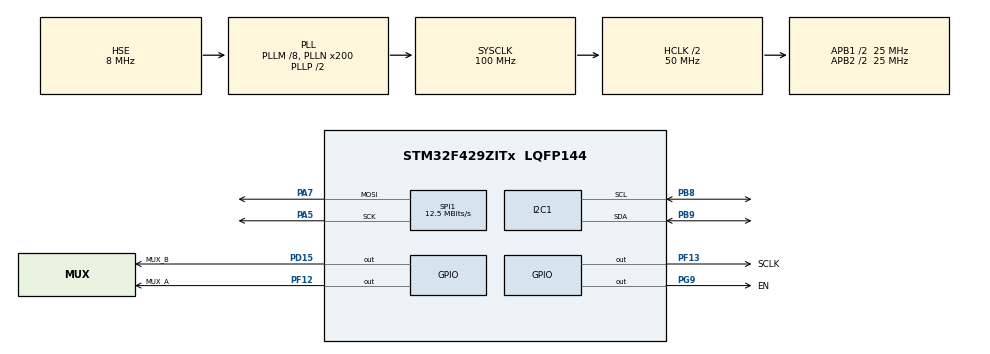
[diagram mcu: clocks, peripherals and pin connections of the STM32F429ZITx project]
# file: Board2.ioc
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I2C1.OwnAddress=10
Mcu.Family=STM32F4
Mcu.Name=STM32F429ZITx
Mcu.Package=LQFP144
NVIC.I2C1_ER_IRQn=true\:0\:0\:false\:false\:true\:true\:true\:true
NVIC.I2C1_EV_IRQn=true\:0\:0\:false\:false\:true\:true\:true\:true
NVIC.PriorityGroup=NVIC_PRIORITYGROUP_4
PA5.Mode=TX_Only_Simplex_Unidirect_Master
PA5.Signal=SPI1_SCK
PA7.Mode=TX_Only_Simplex_Unidirect_Master
PA7.Signal=SPI1_MOSI
PB8.GPIO_Pu=GPIO_PULLUP
PB8.Mode=I2C
PB8.Signal=I2C1_SCL
PB9.GPIO_Pu=GPIO_PULLUP
PB9.Mode=I2C
PB9.Signal=I2C1_SDA
PD15.GPIO_Label=MUX_B
PD15.Signal=GPIO_Output
PF12.GPIO_Label=MUX_A
PF12.Signal=GPIO_Output
PF13.GPIO_Label=SCLK
PF13.Signal=GPIO_Output
PG9.GPIO_Label=EN
PG9.Signal=GPIO_Output
PH0/OSC_IN.Mode=HSE-External-Oscillator
PH0/OSC_IN.Signal=RCC_OSC_IN
PH1/OSC_OUT.Mode=HSE-External-Oscillator
PH1/OSC_OUT.Signal=RCC_OSC_OUT
ProjectManager.HeapSize=0x200
ProjectManager.StackSize=0x400
ProjectManager.TargetToolchain=MDK-ARM V5.32
RCC.48MHZClocksFreq_Value=50000000
RCC.AHBCLKDivider=RCC_SYSCLK_DIV2
RCC.AHBFreq_Value=50000000
RCC.APB1CLKDivider=RCC_HCLK_DIV2
RCC.APB1Freq_Value=25000000
RCC.APB1TimFreq_Value=50000000
RCC.APB2CLKDivider=RCC_HCLK_DIV2
RCC.APB2Freq_Value=25000000
RCC.APB2TimFreq_Value=50000000
RCC.CortexFreq_Value=50000000
RCC.HCLKFreq_Value=50000000
RCC.HSE_VALUE=8000000
RCC.HSI_VALUE=16000000
RCC.LSE_VALUE=32768
RCC.PLLM=8
RCC.PLLN=200
RCC.PLLSourceVirtual=RCC_PLLSOURCE_HSE
RCC.SYSCLKFreq_VALUE=100000000
RCC.SYSCLKSource=RCC_SYSCLKSOURCE_PLLCLK
RCC.VCOOutputFreq_Value=200000000
SPI1.BaudRatePrescaler=SPI_BAUDRATEPRESCALER_2
SPI1.CalculateBaudRate=12.5 MBits/s
SPI1.Direction=SPI_DIRECTION_2LINES
SPI1.Mode=SPI_MODE_MASTER
SPI1.VirtualType=VM_MASTER
board=custom

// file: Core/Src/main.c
/* USER CODE BEGIN Header */
/**
  ******************************************************************************
  * @file           : main.c
  * @brief          : Main program body
  ******************************************************************************
  * @attention
  *
  * Copyright (c) 2023 STMicroelectronics.
  * All rights reserved.
  *
  * This software is licensed under terms that can be found in the LICENSE file
  * in the root directory of this software component.
  * If no LICENSE file comes with this software, it is provided AS-IS.
  *
  ******************************************************************************
  */
/* USER CODE END Header */
#include "main.h"

I2C_HandleTypeDef hi2c1;

SPI_HandleTypeDef hspi1;

/* USER CODE BEGIN PV */

typedef struct {
	uint8_t x;
	uint8_t y;
} Pixel;

typedef enum {
	AB_11,
	AB_10,
	AB_01,
	AB_00
} ABMux;

uint8_t data [4][16];
uint8_t RX_buffer[64];

uint8_t waitReceive = 0;
/* USER CODE END PV */

void SystemClock_Config(void);
static void MX_GPIO_Init(void);
static void MX_I2C1_Init(void);
static void MX_SPI1_Init(void);
/* USER CODE BEGIN PFP */

void setABMux(ABMux AB);
void printMultiplePixel(uint8_t dataFrame[4][16]);

/* USER CODE END PFP */

int main(void)
{

  /* MCU Configuration--------------------------------------------------------*/

  /* Reset of all peripherals, Initializes the Flash interface and the Systick. */
  HAL_Init();

  /* Configure the system clock */
  SystemClock_Config();

  /* Initialize all configured peripherals */
  MX_GPIO_Init();
  MX_I2C1_Init();
  MX_SPI1_Init();
  /* USER CODE BEGIN 2 */

	HAL_GPIO_WritePin(EN_GPIO_Port, EN_Pin, GPIO_PIN_SET);

  /* USER CODE END 2 */

  /* Infinite loop */
  while (1)
  {

    /* USER CODE BEGIN 3 */
		HAL_I2C_Slave_Receive_IT(&hi2c1, RX_buffer, 64);
		for (uint8_t i = 0; i < 4; i++) {
			for (uint8_t j = 0; j < 16; j++) {
				data[i][j] = RX_buffer[16*i + j];
			}
		}
		if (waitReceive) {
			printMultiplePixel(data);
			waitReceive = 0;
		}
  }
  /* USER CODE END 3 */
}

void SystemClock_Config(void)
{
  RCC_OscInitTypeDef RCC_OscInitStruct = {0};
  RCC_ClkInitTypeDef RCC_ClkInitStruct = {0};

  /** Configure the main internal regulator output voltage
  */
  __HAL_RCC_PWR_CLK_ENABLE();
  __HAL_PWR_VOLTAGESCALING_CONFIG(PWR_REGULATOR_VOLTAGE_SCALE3);

  /** Initializes the RCC Oscillators according to the specified parameters
  * in the RCC_OscInitTypeDef structure.
  */
  RCC_OscInitStruct.OscillatorType = RCC_OSCILLATORTYPE_HSE;
  RCC_OscInitStruct.HSEState = RCC_HSE_ON;
  RCC_OscInitStruct.PLL.PLLState = RCC_PLL_ON;
  RCC_OscInitStruct.PLL.PLLSource = RCC_PLLSOURCE_HSE;
  RCC_OscInitStruct.PLL.PLLM = 8;
  RCC_OscInitStruct.PLL.PLLN = 200;
  RCC_OscInitStruct.PLL.PLLP = RCC_PLLP_DIV2;
  RCC_OscInitStruct.PLL.PLLQ = 4;
  if (HAL_RCC_OscConfig(&RCC_OscInitStruct) != HAL_OK)
  {
    Error_Handler();
  }

  /** Initializes the CPU, AHB and APB buses clocks
  */
  RCC_ClkInitStruct.ClockType = RCC_CLOCKTYPE_HCLK|RCC_CLOCKTYPE_SYSCLK
                              |RCC_CLOCKTYPE_PCLK1|RCC_CLOCKTYPE_PCLK2;
  RCC_ClkInitStruct.SYSCLKSource = RCC_SYSCLKSOURCE_PLLCLK;
  RCC_ClkInitStruct.AHBCLKDivider = RCC_SYSCLK_DIV2;
  RCC_ClkInitStruct.APB1CLKDivider = RCC_HCLK_DIV2;
  RCC_ClkInitStruct.APB2CLKDivider = RCC_HCLK_DIV2;

  if (HAL_RCC_ClockConfig(&RCC_ClkInitStruct, FLASH_LATENCY_1) != HAL_OK)
  {
    Error_Handler();
  }
}

static void MX_I2C1_Init(void)
{

  hi2c1.Instance = I2C1;
  hi2c1.Init.ClockSpeed = 100000;
  hi2c1.Init.DutyCycle = I2C_DUTYCYCLE_2;
  hi2c1.Init.OwnAddress1 = 20;
  hi2c1.Init.AddressingMode = I2C_ADDRESSINGMODE_7BIT;
  hi2c1.Init.DualAddressMode = I2C_DUALADDRESS_DISABLE;
  hi2c1.Init.OwnAddress2 = 0;
  hi2c1.Init.GeneralCallMode = I2C_GENERALCALL_DISABLE;
  hi2c1.Init.NoStretchMode = I2C_NOSTRETCH_DISABLE;
  if (HAL_I2C_Init(&hi2c1) != HAL_OK)
  {
    Error_Handler();
  }

  /** Configure Analogue filter
  */
  if (HAL_I2CEx_ConfigAnalogFilter(&hi2c1, I2C_ANALOGFILTER_ENABLE) != HAL_OK)
  {
    Error_Handler();
  }

  /** Configure Digital filter
  */
  if (HAL_I2CEx_ConfigDigitalFilter(&hi2c1, 0) != HAL_OK)
  {
    Error_Handler();
  }

}

static void MX_SPI1_Init(void)
{

  /* SPI1 parameter configuration*/
  hspi1.Instance = SPI1;
  hspi1.Init.Mode = SPI_MODE_MASTER;
  hspi1.Init.Direction = SPI_DIRECTION_2LINES;
  hspi1.Init.DataSize = SPI_DATASIZE_8BIT;
  hspi1.Init.CLKPolarity = SPI_POLARITY_LOW;
  hspi1.Init.CLKPhase = SPI_PHASE_1EDGE;
  hspi1.Init.NSS = SPI_NSS_SOFT;
  hspi1.Init.BaudRatePrescaler = SPI_BAUDRATEPRESCALER_2;
  hspi1.Init.FirstBit = SPI_FIRSTBIT_MSB;
  hspi1.Init.TIMode = SPI_TIMODE_DISABLE;
  hspi1.Init.CRCCalculation = SPI_CRCCALCULATION_DISABLE;
  hspi1.Init.CRCPolynomial = 10;
  if (HAL_SPI_Init(&hspi1) != HAL_OK)
  {
    Error_Handler();
  }

}

static void MX_GPIO_Init(void)
{
  GPIO_InitTypeDef GPIO_InitStruct = {0};

  /* GPIO Ports Clock Enable */
  __HAL_RCC_GPIOH_CLK_ENABLE();
  __HAL_RCC_GPIOA_CLK_ENABLE();
  __HAL_RCC_GPIOF_CLK_ENABLE();
  __HAL_RCC_GPIOD_CLK_ENABLE();
  __HAL_RCC_GPIOG_CLK_ENABLE();
  __HAL_RCC_GPIOB_CLK_ENABLE();

  /*Configure GPIO pin Output Level */
  HAL_GPIO_WritePin(GPIOF, MUX_A_Pin|SCLK_Pin, GPIO_PIN_RESET);

  /*Configure GPIO pin Output Level */
  HAL_GPIO_WritePin(MUX_B_GPIO_Port, MUX_B_Pin, GPIO_PIN_RESET);

  /*Configure GPIO pin Output Level */
  HAL_GPIO_WritePin(EN_GPIO_Port, EN_Pin, GPIO_PIN_RESET);

  /*Configure GPIO pins : MUX_A_Pin SCLK_Pin */
  GPIO_InitStruct.Pin = MUX_A_Pin|SCLK_Pin;
  GPIO_InitStruct.Mode = GPIO_MODE_OUTPUT_PP;
  GPIO_InitStruct.Pull = GPIO_NOPULL;
  GPIO_InitStruct.Speed = GPIO_SPEED_FREQ_LOW;
  HAL_GPIO_Init(GPIOF, &GPIO_InitStruct);

  /*Configure GPIO pin : MUX_B_Pin */
  GPIO_InitStruct.Pin = MUX_B_Pin;
  GPIO_InitStruct.Mode = GPIO_MODE_OUTPUT_PP;
  GPIO_InitStruct.Pull = GPIO_NOPULL;
  GPIO_InitStruct.Speed = GPIO_SPEED_FREQ_LOW;
  HAL_GPIO_Init(MUX_B_GPIO_Port, &GPIO_InitStruct);

  /*Configure GPIO pin : EN_Pin */
  GPIO_InitStruct.Pin = EN_Pin;
  GPIO_InitStruct.Mode = GPIO_MODE_OUTPUT_PP;
  GPIO_InitStruct.Pull = GPIO_NOPULL;
  GPIO_InitStruct.Speed = GPIO_SPEED_FREQ_LOW;
  HAL_GPIO_Init(EN_GPIO_Port, &GPIO_InitStruct);

}

/* USER CODE BEGIN 4 */

void setABMux(ABMux AB){
	switch (AB) {
		case AB_11:
			HAL_GPIO_WritePin(MUX_A_GPIO_Port, MUX_A_Pin, GPIO_PIN_SET);
			HAL_GPIO_WritePin(MUX_B_GPIO_Port, MUX_B_Pin, GPIO_PIN_SET);
			break;
		case AB_01:
			HAL_GPIO_WritePin(MUX_A_GPIO_Port, MUX_A_Pin, GPIO_PIN_SET);
			HAL_GPIO_WritePin(MUX_B_GPIO_Port, MUX_B_Pin, GPIO_PIN_RESET);
			break;
		case AB_10:
			HAL_GPIO_WritePin(MUX_A_GPIO_Port, MUX_A_Pin, GPIO_PIN_RESET);
			HAL_GPIO_WritePin(MUX_B_GPIO_Port, MUX_B_Pin, GPIO_PIN_SET);
			break;
		case AB_00:
			HAL_GPIO_WritePin(MUX_A_GPIO_Port, MUX_A_Pin, GPIO_PIN_RESET);
			HAL_GPIO_WritePin(MUX_B_GPIO_Port, MUX_B_Pin, GPIO_PIN_RESET);
			break;
	}
}

void printMultiplePixel(uint8_t dataFrame[4][16]) {
	for (uint8_t j = 0; j < 4; j++) {
		setABMux(j);
		for (uint8_t i = 0; i < 16; i++) {
			HAL_GPIO_WritePin(SCLK_GPIO_Port, SCLK_Pin, GPIO_PIN_SET);
			HAL_SPI_Transmit(&hspi1, &dataFrame[j][i], 1, 2);
			HAL_GPIO_WritePin(SCLK_GPIO_Port, SCLK_Pin, GPIO_PIN_RESET);
		}
		HAL_Delay(1);
	}
}

/* USER CODE END 4 */

void Error_Handler(void)
{
  __disable_irq();
  while (1)
  {
  }
}
